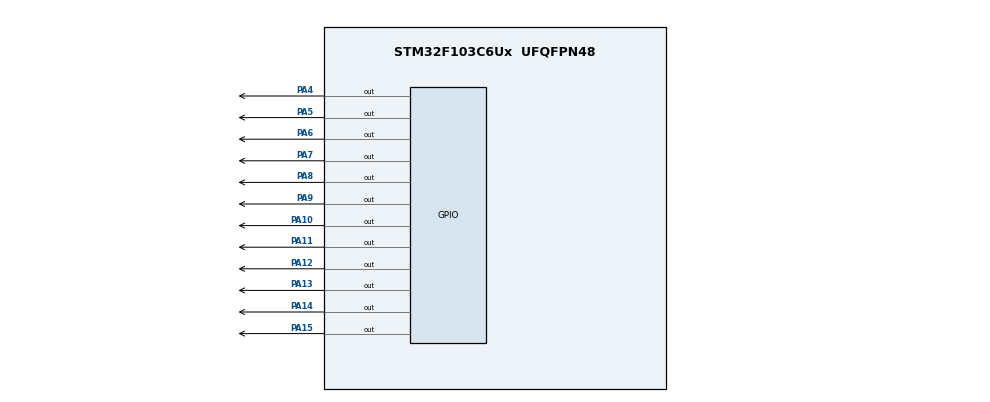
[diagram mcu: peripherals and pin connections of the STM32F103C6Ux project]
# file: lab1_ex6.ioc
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Mcu.Family=STM32F1
Mcu.Name=STM32F103C6Ux
Mcu.Package=UFQFPN48
NVIC.PriorityGroup=NVIC_PRIORITYGROUP_4
PA10.Signal=GPIO_Output
PA11.Signal=GPIO_Output
PA12.Signal=GPIO_Output
PA13.Signal=GPIO_Output
PA14.Signal=GPIO_Output
PA15.Signal=GPIO_Output
PA4.Signal=GPIO_Output
PA5.Signal=GPIO_Output
PA6.Signal=GPIO_Output
PA7.Signal=GPIO_Output
PA8.Signal=GPIO_Output
PA9.Signal=GPIO_Output
ProjectManager.HeapSize=0x200
ProjectManager.StackSize=0x400
ProjectManager.TargetToolchain=STM32CubeIDE
RCC.APB1Freq_Value=8000000
RCC.APB2Freq_Value=8000000
VP_SYS_VS_ND.Mode=No_Debug
board=custom

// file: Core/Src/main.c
/* USER CODE BEGIN Header */
/**
  ******************************************************************************
  * @file           : main.c
  * @brief          : Main program body - Total Lab 1 (Exercise 6 -> 10)
  ******************************************************************************
  * @attention
  *
  * <h2><center>&copy; Copyright (c) 2026 STMicroelectronics.
  * All rights reserved.</center></h2>
  *
  * This software component is licensed by ST under BSD 3-Clause license,
  * the "License"; You may not use this file except in compliance with the
  * License. You may obtain a copy of the License at:
  *                        opensource.org/licenses/BSD-3-Clause
  *
  ******************************************************************************
  */
/* USER CODE END Header */
#include "main.h"

/* USER CODE BEGIN PV */
// Khai báo biến thời gian cho Bài 10 (Đồng hồ Analog)
int hour = 10;   // Khởi tạo 10 giờ
int minute = 10; // Khởi tạo 10 phút
int second = 0;  // Khởi tạo 0 giây
/* USER CODE END PV */

void SystemClock_Config(void);
static void MX_GPIO_Init(void);
/* USER CODE BEGIN PFP */
void clearAllClock(void);
void setNumberOnClock(int num);
void clearNumberOnClock(int num);
/* USER CODE END PFP */

/* USER CODE BEGIN 0 */
// Ex 7: Tắt toàn bộ 12 LED
void clearAllClock(void) {
    for (int i = 4; i <= 15; i++) {
        HAL_GPIO_WritePin(GPIOA, GPIO_PIN_0 << i, GPIO_PIN_RESET);
    }
}

// Ex 8: Bật LED tại vị trí số num (0 -> 11)
void setNumberOnClock(int num) {
    if (num >= 0 && num <= 11) {
        HAL_GPIO_WritePin(GPIOA, GPIO_PIN_0 << (num + 4), GPIO_PIN_SET);
    }
}

// Ex 9: Tắt LED tại vị trí số num (0 -> 11)
void clearNumberOnClock(int num) {
    if (num >= 0 && num <= 11) {
        HAL_GPIO_WritePin(GPIOA, GPIO_PIN_0 << (num + 4), GPIO_PIN_RESET);
    }
}
/* USER CODE END 0 */

int main(void)
{

  /* MCU Configuration--------------------------------------------------------*/

  /* Reset of all peripherals, Initializes the Flash interface and the Systick. */
  HAL_Init();

  /* Configure the system clock */
  SystemClock_Config();

  /* Initialize all configured peripherals */
  MX_GPIO_Init();

  /* Infinite loop */
  /* USER CODE BEGIN WHILE */
  while (1)
  {
    // EXERCISE 10: MÔ PHỎNG ĐỒNG HỒ ANALOG

    // 1. Tắt toàn bộ mặt đồng hồ trước khi vẽ vị trí kim mới (Ex 7)
    clearAllClock();

    // 2. Bật các vị trí tương ứng Kim Giờ, Kim Phút, Kim Giây (Ex 8)
    setNumberOnClock(hour % 12);   // Kim giờ (0 -> 11)
    setNumberOnClock(minute / 5);  // Kim phút (60 phút chia thành 12 nấc, mỗi nấc 5 phút)
    setNumberOnClock(second / 5);  // Kim giây (60 giây chia thành 12 nấc, mỗi nấc 5 giây)

    // 3. Tăng thời gian
    second++;
    if (second >= 60) {
        second = 0;
        minute++;
        if (minute >= 60) {
            minute = 0;
            hour++;
            if (hour >= 12) {
                hour = 0;
            }
        }
    }

    // 4. Delay 1000ms (1 giây thực). Để test nhanh bạn có thể sửa thành 100ms
    HAL_Delay(50);
    /* USER CODE END WHILE */

  }
}

void SystemClock_Config(void)
{
  RCC_OscInitTypeDef RCC_OscInitStruct = {0};
  RCC_ClkInitTypeDef RCC_ClkInitStruct = {0};

  /** Initializes the RCC Oscillators according to the specified parameters
  * in the RCC_OscInitTypeDef structure.
  */
  RCC_OscInitStruct.OscillatorType = RCC_OSCILLATORTYPE_HSI;
  RCC_OscInitStruct.HSIState = RCC_HSI_ON;
  RCC_OscInitStruct.HSICalibrationValue = RCC_HSICALIBRATION_DEFAULT;
  RCC_OscInitStruct.PLL.PLLState = RCC_PLL_NONE;
  if (HAL_RCC_OscConfig(&RCC_OscInitStruct) != HAL_OK)
  {
    Error_Handler();
  }
  /** Initializes the CPU, AHB and APB buses clocks
  */
  RCC_ClkInitStruct.ClockType = RCC_CLOCKTYPE_HCLK|RCC_CLOCKTYPE_SYSCLK
                              |RCC_CLOCKTYPE_PCLK1|RCC_CLOCKTYPE_PCLK2;
  RCC_ClkInitStruct.SYSCLKSource = RCC_SYSCLKSOURCE_HSI;
  RCC_ClkInitStruct.AHBCLKDivider = RCC_SYSCLK_DIV1;
  RCC_ClkInitStruct.APB1CLKDivider = RCC_HCLK_DIV1;
  RCC_ClkInitStruct.APB2CLKDivider = RCC_HCLK_DIV1;

  if (HAL_RCC_ClockConfig(&RCC_ClkInitStruct, FLASH_LATENCY_0) != HAL_OK)
  {
    Error_Handler();
  }
}

static void MX_GPIO_Init(void)
{
  GPIO_InitTypeDef GPIO_InitStruct = {0};

  /* GPIO Ports Clock Enable */
  __HAL_RCC_GPIOA_CLK_ENABLE();

  /* BỔ SUNG: Mở clock AFIO và vô hiệu hóa JTAG/SWD để dùng PA13, PA14, PA15 làm GPIO */
  __HAL_RCC_AFIO_CLK_ENABLE();
  __HAL_AFIO_REMAP_SWJ_DISABLE();

  /*Configure GPIO pin Output Level */
  HAL_GPIO_WritePin(GPIOA, GPIO_PIN_4|GPIO_PIN_5|GPIO_PIN_6|GPIO_PIN_7
                          |GPIO_PIN_8|GPIO_PIN_9|GPIO_PIN_10|GPIO_PIN_11
                          |GPIO_PIN_12|GPIO_PIN_13|GPIO_PIN_14|GPIO_PIN_15, GPIO_PIN_RESET);

  /*Configure GPIO pins : PA4 PA5 PA6 PA7
                           PA8 PA9 PA10 PA11
                           PA12 PA13 PA14 PA15 */
  GPIO_InitStruct.Pin = GPIO_PIN_4|GPIO_PIN_5|GPIO_PIN_6|GPIO_PIN_7
                          |GPIO_PIN_8|GPIO_PIN_9|GPIO_PIN_10|GPIO_PIN_11
                          |GPIO_PIN_12|GPIO_PIN_13|GPIO_PIN_14|GPIO_PIN_15;
  GPIO_InitStruct.Mode = GPIO_MODE_OUTPUT_PP;
  GPIO_InitStruct.Pull = GPIO_NOPULL;
  GPIO_InitStruct.Speed = GPIO_SPEED_FREQ_LOW;
  HAL_GPIO_Init(GPIOA, &GPIO_InitStruct);

}

void Error_Handler(void)
{
  __disable_irq();
  while (1)
  {
  }
}
